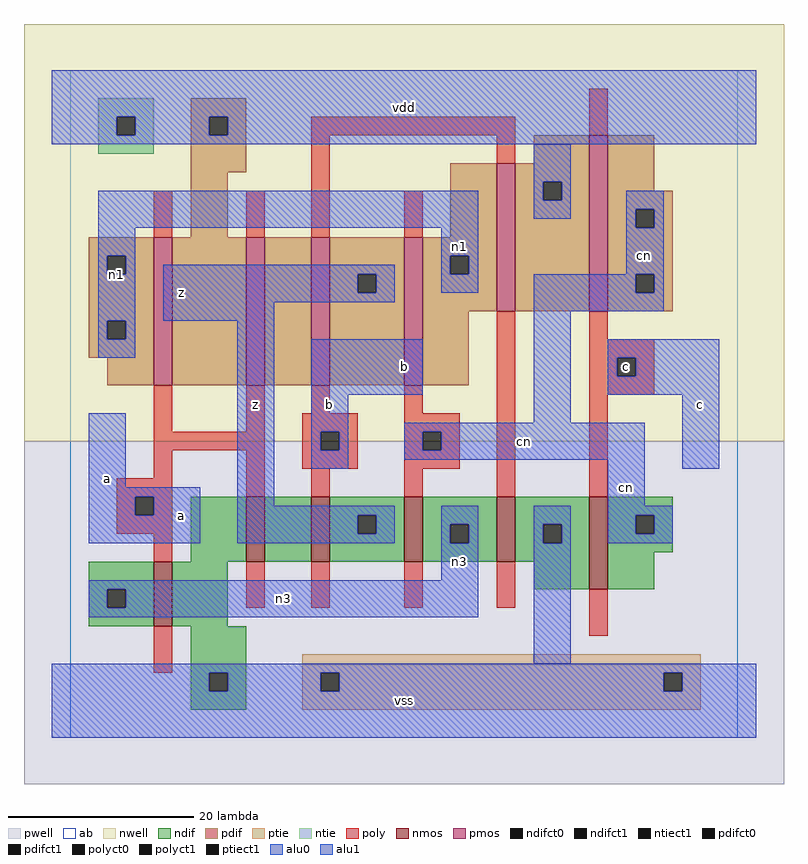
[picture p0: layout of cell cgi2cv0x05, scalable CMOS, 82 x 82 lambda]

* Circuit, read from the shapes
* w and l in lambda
.subckt cgi2cv0x05 a b c cn n1 n3 vdd vss z
M1 vss a n3 vss nfet w=7 l=2
M2 n2 a vss vss nfet w=7 l=2
M3 z b n2 vss nfet w=7 l=2
M4 n3 cn z vss nfet w=7 l=2
M5 vss b n3 vss nfet w=7 l=2
M6 cn c vss vss nfet w=10 l=2
M7 vdd a n1 vdd pfet w=16 l=2
M8 n4 a vdd vdd pfet w=16 l=2
M9 z b n4 vdd pfet w=16 l=2
M10 n1 cn z vdd pfet w=16 l=2
M11 vdd b n1 vdd pfet w=16 l=2
M12 cn c vdd vdd pfet w=19 l=2
.ends

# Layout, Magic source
magic
tech scmos
<< ab >>
rect 0 0 72 72
<< nwell >>
rect -5 32 77 77
<< pwell >>
rect -5 -5 77 32
<< poly >>
rect 26 65 48 67
rect 56 65 58 70
rect 9 54 11 59
rect 19 54 21 59
rect 26 54 28 65
rect 46 62 48 65
rect 36 54 38 59
rect 9 33 11 38
rect 19 33 21 38
rect 26 35 28 38
rect 36 35 38 38
rect 9 31 21 33
rect 9 28 11 31
rect 5 26 11 28
rect 19 26 21 31
rect 25 33 31 35
rect 25 31 27 33
rect 29 31 31 33
rect 25 29 31 31
rect 36 33 42 35
rect 36 31 38 33
rect 40 31 42 33
rect 36 29 42 31
rect 26 26 28 29
rect 36 26 38 29
rect 46 26 48 46
rect 56 43 58 46
rect 56 41 63 43
rect 56 39 59 41
rect 61 39 63 41
rect 56 37 63 39
rect 56 26 58 37
rect 5 24 7 26
rect 9 24 11 26
rect 5 22 11 24
rect 9 19 11 22
rect 19 14 21 19
rect 26 14 28 19
rect 36 14 38 19
rect 46 14 48 19
rect 9 7 11 12
rect 56 11 58 16
<< ndif >>
rect 13 19 19 26
rect 21 19 26 26
rect 28 24 36 26
rect 28 22 31 24
rect 33 22 36 24
rect 28 19 36 22
rect 38 23 46 26
rect 38 21 41 23
rect 43 21 46 23
rect 38 19 46 21
rect 48 23 56 26
rect 48 21 51 23
rect 53 21 56 23
rect 48 19 56 21
rect 2 16 9 19
rect 2 14 4 16
rect 6 14 9 16
rect 2 12 9 14
rect 11 12 17 19
rect 50 16 56 19
rect 58 24 65 26
rect 58 22 61 24
rect 63 22 65 24
rect 58 20 65 22
rect 58 16 63 20
rect 13 7 19 12
rect 13 5 15 7
rect 17 5 19 7
rect 13 3 19 5
<< pdif >>
rect 13 67 19 69
rect 13 65 15 67
rect 17 65 19 67
rect 13 61 19 65
rect 13 54 17 61
rect 50 62 56 65
rect 41 54 46 62
rect 2 52 9 54
rect 2 50 4 52
rect 6 50 9 52
rect 2 45 9 50
rect 2 43 4 45
rect 6 43 9 45
rect 2 41 9 43
rect 4 38 9 41
rect 11 38 19 54
rect 21 38 26 54
rect 28 50 36 54
rect 28 48 31 50
rect 33 48 36 50
rect 28 38 36 48
rect 38 52 46 54
rect 38 50 41 52
rect 43 50 46 52
rect 38 46 46 50
rect 48 60 56 62
rect 48 58 51 60
rect 53 58 56 60
rect 48 46 56 58
rect 58 59 63 65
rect 58 57 65 59
rect 58 55 61 57
rect 63 55 65 57
rect 58 50 65 55
rect 58 48 61 50
rect 63 48 65 50
rect 58 46 65 48
rect 38 38 43 46
<< alu1 >>
rect -2 67 74 72
rect -2 65 5 67
rect 7 65 15 67
rect 17 65 74 67
rect -2 64 74 65
rect 10 50 35 51
rect 10 48 31 50
rect 33 48 35 50
rect 10 47 35 48
rect 10 45 22 47
rect 2 27 6 35
rect 2 26 14 27
rect 2 24 7 26
rect 9 24 14 26
rect 2 21 14 24
rect 18 25 22 45
rect 26 37 38 43
rect 26 33 30 37
rect 58 41 70 43
rect 58 39 59 41
rect 61 39 70 41
rect 58 37 70 39
rect 26 31 27 33
rect 29 31 30 33
rect 26 29 30 31
rect 66 29 70 37
rect 18 24 35 25
rect 18 22 31 24
rect 33 22 35 24
rect 18 21 35 22
rect -2 7 74 8
rect -2 5 15 7
rect 17 5 27 7
rect 29 5 64 7
rect 66 5 74 7
rect -2 0 74 5
<< ptie >>
rect 25 7 68 9
rect 25 5 27 7
rect 29 5 64 7
rect 66 5 68 7
rect 25 3 68 5
<< ntie >>
rect 3 67 9 69
rect 3 65 5 67
rect 7 65 9 67
rect 3 63 9 65
<< nmos >>
rect 19 19 21 26
rect 26 19 28 26
rect 36 19 38 26
rect 46 19 48 26
rect 9 12 11 19
rect 56 16 58 26
<< pmos >>
rect 9 38 11 54
rect 19 38 21 54
rect 26 38 28 54
rect 36 38 38 54
rect 46 46 48 62
rect 56 46 58 65
<< polyct0 >>
rect 38 31 40 33
<< polyct1 >>
rect 27 31 29 33
rect 59 39 61 41
rect 7 24 9 26
<< ndifct0 >>
rect 41 21 43 23
rect 51 21 53 23
rect 4 14 6 16
rect 61 22 63 24
<< ndifct1 >>
rect 31 22 33 24
rect 15 5 17 7
<< ntiect1 >>
rect 5 65 7 67
<< ptiect1 >>
rect 27 5 29 7
rect 64 5 66 7
<< pdifct0 >>
rect 4 50 6 52
rect 4 43 6 45
rect 41 50 43 52
rect 51 58 53 60
rect 61 55 63 57
rect 61 48 63 50
<< pdifct1 >>
rect 15 65 17 67
rect 31 48 33 50
<< alu0 >>
rect 50 60 54 64
rect 3 55 44 59
rect 50 58 51 60
rect 53 58 54 60
rect 50 56 54 58
rect 60 57 64 59
rect 3 52 7 55
rect 3 50 4 52
rect 6 50 7 52
rect 40 52 44 55
rect 3 45 7 50
rect 40 50 41 52
rect 43 50 44 52
rect 60 55 61 57
rect 63 55 64 57
rect 60 50 64 55
rect 40 48 44 50
rect 50 48 61 50
rect 63 48 64 50
rect 3 43 4 45
rect 6 43 7 45
rect 3 41 7 43
rect 50 46 64 48
rect 50 34 54 46
rect 36 33 62 34
rect 36 31 38 33
rect 40 31 62 33
rect 36 30 62 31
rect 58 25 62 30
rect 40 23 44 25
rect 40 21 41 23
rect 43 21 44 23
rect 40 17 44 21
rect 2 16 44 17
rect 2 14 4 16
rect 6 14 44 16
rect 2 13 44 14
rect 50 23 54 25
rect 50 21 51 23
rect 53 21 54 23
rect 58 24 65 25
rect 58 22 61 24
rect 63 22 65 24
rect 58 21 65 22
rect 50 8 54 21
<< labels >>
rlabel alu0 5 50 5 50 6 n1
rlabel alu0 23 15 23 15 6 n3
rlabel alu0 42 19 42 19 6 n3
rlabel alu0 42 53 42 53 6 n1
rlabel alu0 49 32 49 32 6 cn
rlabel alu0 60 27 60 27 6 cn
rlabel alu0 62 52 62 52 6 cn
rlabel alu1 4 28 4 28 6 a
rlabel alu1 12 24 12 24 6 a
rlabel alu1 12 48 12 48 6 z
rlabel alu1 28 36 28 36 6 b
rlabel alu1 20 36 20 36 6 z
rlabel alu1 36 4 36 4 6 vss
rlabel alu1 36 40 36 40 6 b
rlabel alu1 36 68 36 68 6 vdd
rlabel alu1 68 36 68 36 6 c
rlabel polyct1 60 40 60 40 6 c
<< end >>
